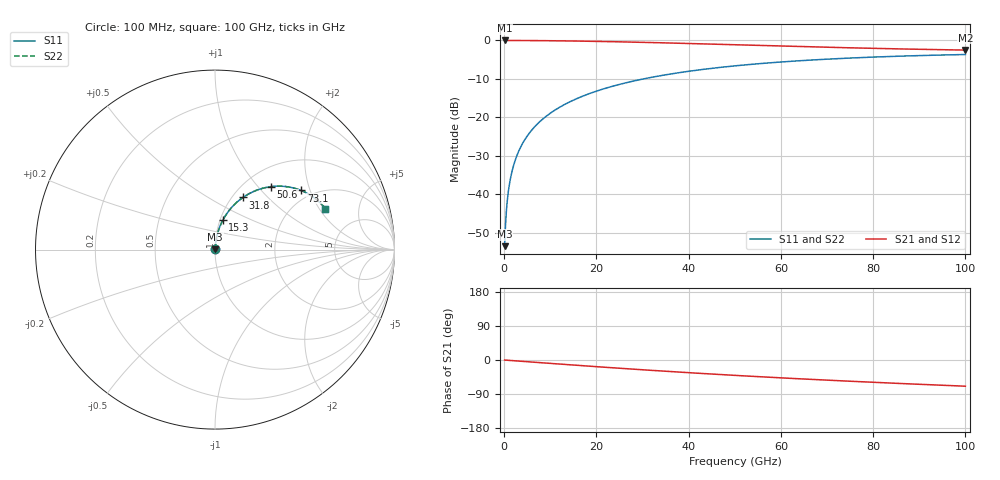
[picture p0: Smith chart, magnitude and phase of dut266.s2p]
! Touchstone file exported from HFSS 2026.1.0
!  File:  C:/ffzhzh/LocalFiles/Ansys_Project_Files/temp_train_RDL_266_1783501745_44152.aedt
!  Generated:  05:10:21 PM Jul  8, 2026
!  Design:  RDL
!  Project:  temp_train_RDL_266_1783501745_44152
! Variables:
!  h_bsmrdl = 2um
!  h_ox = 20um
!  h_rdl = 5um
!  h_sub = 80um
!  h_tmrdl = 2.23um
!  h_tsv = 80um
!  h_via = 3um
!  l_bsmrdl = 300um
!  l_sub = 570.21um
!  l_tmrdl = 170.21um
!  m_sub = 200um
!  pitch = 59.54um
!  r_tsv = 6um
!  s_tmrdl = 10um
!  w_bsmrdl = 18um
!  w_sub = 500um
!  w_tmrdl = 19.4um
!  x_tsv_center1 = 179.91um
!  x_tsv_center2 = 497.91um
!  x_tsv_center3 = 687.52um
!  x_tsv_center4 = 1005.52um
!  x_tsv_center5 = 1195.13um
!  x_tsv_center6 = 1513.13um
# GHz S MA R 50.000000
! Terminal data exported
! Port[1] = TM_RDL1_1_T1
! Port[2] = TM_RDL1_1_T2
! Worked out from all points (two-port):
!   1000 points, 100 MHz to 100 GHz, reference 50 ohm
!   highest |S21| = -0.02 dB at 100 MHz (marker M1); lowest = -2.5 dB at 100 GHz (marker M2)
!   |S21| within 3 dB of the highest: start of sweep to end of sweep
!   lowest |S11| = -53.5 dB at 100 MHz (marker M3), VSWR 1.00, Z = 50.2 + j0.121 ohm
!   |S11| at or under -10 dB: start of sweep to 30.26 GHz
!   |S22| runs from -53.5 to -3.7 dB; largest |S21 - S12| = 5.2e-15
!   S11 on the Smith chart (normalised r, x): 100 MHz: 1.00, +0.00; 15.3 GHz: 1.03, +0.35; 31.8 GHz: 1.12, +0.73; 50.6 GHz: 1.31, +1.18; 73.1 GHz: 1.75, +1.74; 100 GHz: 2.84, +2.27
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0.1  0.002114 34.9  0.9983 -0.1  0.9983 -0.1  0.002114 34.9
! Gamma 0 0 0 0
! Port Impedance 50 0 50 0
0.3  0.004031 63.3  0.9982 -0.3  0.9982 -0.3  0.004031 63.3
0.7  0.008491 76.0  0.998 -0.6  0.998 -0.6  0.008491 76.0
0.9  0.01074 78.3  0.9979 -0.8  0.9979 -0.8  0.01074 78.3
1.4  0.01637 81.3  0.9977 -1.3  0.9977 -1.3  0.01637 81.3
1.9  0.02203 82.6  0.9976 -1.7  0.9976 -1.7  0.02203 82.6
2.4  0.0277 83.2  0.9974 -2.2  0.9974 -2.2  0.0277 83.2
3.8  0.04358 83.5  0.9967 -3.4  0.9967 -3.4  0.04358 83.5
5.8  0.06619 82.6  0.9952 -5.2  0.9952 -5.2  0.06619 82.6
8.3  0.09421 80.8  0.9927 -7.5  0.9927 -7.5  0.09421 80.8
11.5  0.1295 78.2  0.9883 -10.3  0.9883 -10.3  0.1295 78.2
15.3  0.1703 75.1  0.9815 -13.6  0.9815 -13.6  0.1703 75.1
16.8  0.186 73.9  0.9784 -14.9  0.9784 -14.9  0.186 73.8
23.5  0.2535 68.4  0.9624 -20.5  0.9624 -20.5  0.2535 68.3
31.8  0.3298 61.8  0.9384 -27.2  0.9384 -27.2  0.3298 61.8
33.4  0.3435 60.6  0.9333 -28.5  0.9333 -28.5  0.3435 60.6
50.1  0.4671 48.6  0.8777 -40.6  0.8777 -40.6  0.4671 48.6
50.6  0.4703 48.3  0.876 -41.0  0.876 -41.0  0.4703 48.2
66.7  0.5561 38.1  0.8244 -51.2  0.8244 -51.2  0.5561 38.1
73.1  0.5826 34.4  0.8061 -55.0  0.8061 -55.0  0.5826 34.4
83.4  0.6172 28.8  0.7802 -60.7  0.7802 -60.7  0.6172 28.8
100  0.6554 20.4  0.7486 -69.2  0.7486 -69.2  0.6554 20.3
